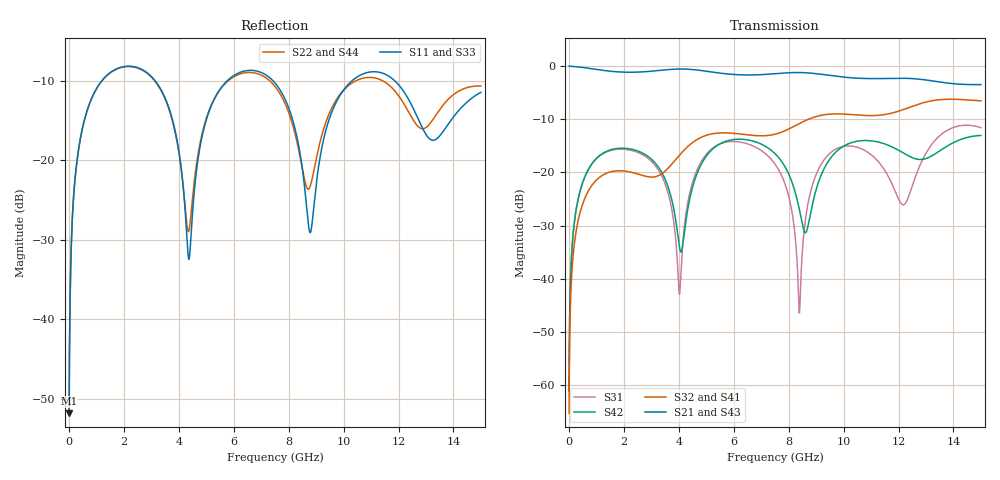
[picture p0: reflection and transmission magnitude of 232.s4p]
! Created with skrf 1.8.0 (http://scikit-rf.org).
# GHz S RI R 50.0
!freq ReS11 ImS11 ReS12 ImS12 ReS13 ImS13
! ReS14 ImS14
! ReS21 ImS21 ReS22 ImS22 ReS23 ImS23
! ReS24 ImS24
! ReS31 ImS31 ReS32 ImS32 ReS33 ImS33
! ReS34 ImS34
! ReS41 ImS41 ReS42 ImS42 ReS43 ImS43
! ReS44 ImS44
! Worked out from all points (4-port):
!   2499 points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, 5 MHz to 15 GHz, reference 50 ohm
!   strongest paths, dB at 5 MHz, 3.476 GHz, 7.19 GHz, 11.1 GHz, 15 GHz:
!     S21: 0.0, -0.7, -1.6, -2.4, -3.5
!     S43: 0.0, -0.7, -1.6, -2.4, -3.5
!     S32: -65.3, -19.9, -13.1, -9.3, -6.5
!     S41: -65.3, -19.9, -13.1, -9.3, -6.6
!     S42: -61.2, -21.0, -15.2, -14.1, -13.0
!     S31: -61.2, -21.8, -16.6, -17.1, -11.6
!   lowest |S11| = -51.8 dB at 5 MHz (marker M1), VSWR 1.01, Z = 50.2 + j0.155 ohm
!   |S11| at or under -10 dB: 3.131 GHz to 5.773 GHz (2.642 GHz wide, 59.3 % of centre); 7.421 GHz to 10.32 GHz (2.899 GHz wide, 32.7 % of centre); 11.85 GHz to end of sweep (the widest 3 of 4)
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0.005  0.00205 0.00155  0.9979 -0.00399  0.000106 0.000867  -0.000103 -0.000536
       0.9979 -0.00399  0.00205 0.00155  -0.000103 -0.000536  0.000106 0.000867
       0.000106 0.000867  -0.000103 -0.000536  0.00205 0.00155  0.9979 -0.00399
       -0.000103 -0.000536  0.000106 0.000867  0.9979 -0.00399  0.00205 0.00155
1.3193  0.2889 0.1656  0.5064 -0.7508  0.14 0.0642  -0.097 0.00143
        0.5064 -0.7508  0.2866 0.1672  -0.0971 0.00162  0.1457 0.0556
        0.14 0.0642  -0.0971 0.00162  0.2888 0.1657  0.5063 -0.7509
        -0.097 0.00143  0.1457 0.0556  0.5063 -0.7509  0.2868 0.1672
4.445  0.0264 0.0208  -0.9303 -0.0116  0.0232 0.0678  0.00299 0.1864
       -0.9303 -0.0116  0.0386 0.0248  0.00616 0.1863  0.00417 0.0639
       0.0232 0.0678  0.00616 0.1863  0.0281 0.0205  -0.9303 -0.0114
       0.00299 0.1864  0.00417 0.0639  -0.9303 -0.0114  0.0369 0.0249
7.234264  0.3117 -0.1284  0.2372 0.8033  0.1151 -0.0867  0.1906 -0.1115
          0.2372 0.8033  0.3041 -0.1087  0.1885 -0.1183  0.1024 -0.1371
          0.1151 -0.0867  0.1885 -0.1183  0.3129 -0.127  0.2375 0.8026
          0.1906 -0.1115  0.1024 -0.1371  0.2375 0.8026  0.3057 -0.1119
8.390996  0.0626 -0.0981  0.7829 0.3783  0.00477 0.000119  0.1222 -0.2615
          0.7829 0.3783  0.084 -0.0715  0.1124 -0.2659  -0.0328 -0.0304
          0.00477 0.000119  0.1124 -0.2659  0.0685 -0.0977  0.7829 0.3778
          0.1222 -0.2615  -0.0328 -0.0304  0.7829 0.3778  0.0794 -0.0758
11.411  0.349 -0.0464  -0.0453 -0.7624  0.0637 -0.0937  -0.3433 0.0499
        -0.0453 -0.7624  0.3133 -0.0392  -0.3413 0.0661  0.0543 -0.1808
        0.0637 -0.0937  -0.3413 0.0661  0.3488 -0.051  -0.0478 -0.7618
        -0.3433 0.0499  0.0543 -0.1808  -0.0478 -0.7618  0.3151 -0.0389
15  0.2653 0.0266  -0.3971 0.5397  0.2635 -0.00602  0.4203 0.2072
    -0.3971 0.5397  0.2912 -0.0185  0.4337 0.1843  0.2202 -0.0347
    0.2635 -0.00602  0.4337 0.1843  0.2617 0.0202  -0.3922 0.5424
    0.4203 0.2072  0.2202 -0.0347  -0.3922 0.5424  0.298 -0.0152
